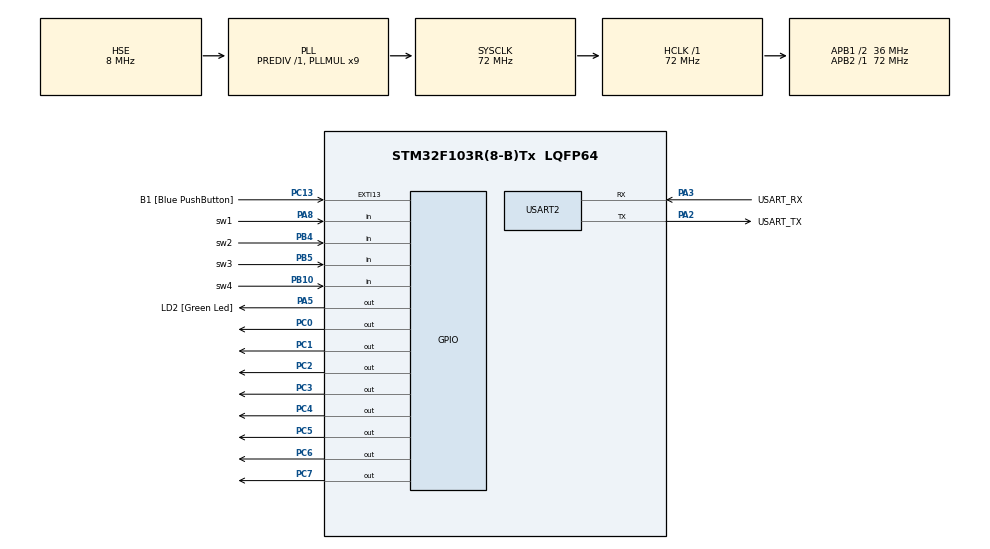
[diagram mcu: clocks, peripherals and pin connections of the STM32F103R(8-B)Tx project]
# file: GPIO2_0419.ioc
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Mcu.Family=STM32F1
Mcu.Name=STM32F103R(8-B)Tx
Mcu.Package=LQFP64
NVIC.EXTI15_10_IRQn=true\:0\:0\:false\:false\:true\:true\:true\:true
NVIC.PriorityGroup=NVIC_PRIORITYGROUP_4
PA13.GPIO_Label=TMS
PA13.Mode=Serial_Wire
PA13.Signal=SYS_JTMS-SWDIO
PA14.GPIO_Label=TCK
PA14.Mode=Serial_Wire
PA14.Signal=SYS_JTCK-SWCLK
PA2.GPIO_Label=USART_TX
PA2.GPIO_Mode=GPIO_MODE_AF_PP
PA2.GPIO_PuPd=GPIO_NOPULL
PA2.GPIO_Speed=GPIO_SPEED_FREQ_LOW
PA2.Mode=Asynchronous
PA2.Signal=USART2_TX
PA3.GPIO_Label=USART_RX
PA3.GPIO_Mode=GPIO_MODE_AF_PP
PA3.GPIO_PuPd=GPIO_NOPULL
PA3.GPIO_Speed=GPIO_SPEED_FREQ_LOW
PA3.Mode=Asynchronous
PA3.Signal=USART2_RX
PA5.GPIO_Label=LD2 [Green Led]
PA5.GPIO_ModeDefaultOutputPP=GPIO_MODE_OUTPUT_PP
PA5.GPIO_PuPd=GPIO_NOPULL
PA5.GPIO_Speed=GPIO_SPEED_FREQ_LOW
PA5.Signal=GPIO_Output
PA8.GPIO_Label=sw1
PA8.Signal=GPIO_Input
PB10.GPIO_Label=sw4
PB10.Signal=GPIO_Input
PB3.GPIO_Label=SWO
PB3.Signal=SYS_JTDO-TRACESWO
PB4.GPIO_Label=sw2
PB4.Signal=GPIO_Input
PB5.GPIO_Label=sw3
PB5.Signal=GPIO_Input
PC0.Signal=GPIO_Output
PC1.Signal=GPIO_Output
PC13-TAMPER-RTC.GPIO_Label=B1 [Blue PushButton]
PC13-TAMPER-RTC.GPIO_PuPd=GPIO_NOPULL
PC13-TAMPER-RTC.Signal=GPXTI13
PC14-OSC32_IN.Mode=LSE-External-Oscillator
PC14-OSC32_IN.Signal=RCC_OSC32_IN
PC15-OSC32_OUT.Mode=LSE-External-Oscillator
PC15-OSC32_OUT.Signal=RCC_OSC32_OUT
PC2.Signal=GPIO_Output
PC3.Signal=GPIO_Output
PC4.Signal=GPIO_Output
PC5.Signal=GPIO_Output
PC6.Signal=GPIO_Output
PC7.Signal=GPIO_Output
PD0-OSC_IN.Mode=HSE-External-Clock-Source
PD0-OSC_IN.Signal=RCC_OSC_IN
PD1-OSC_OUT.Mode=HSE-External-Clock-Source
PD1-OSC_OUT.Signal=RCC_OSC_OUT
ProjectManager.HeapSize=0x200
ProjectManager.StackSize=0x400
ProjectManager.TargetToolchain=STM32CubeIDE
RCC.AHBFreq_Value=72000000
RCC.APB1CLKDivider=RCC_HCLK_DIV2
RCC.APB1Freq_Value=36000000
RCC.APB1TimFreq_Value=72000000
RCC.APB2Freq_Value=72000000
RCC.APB2TimFreq_Value=72000000
RCC.HCLKFreq_Value=72000000
RCC.PLLMUL=RCC_PLL_MUL9
RCC.PLLSourceVirtual=RCC_PLLSOURCE_HSE
RCC.RTCClockSelection=RCC_RTCCLKSOURCE_LSE
RCC.SYSCLKFreq_VALUE=72000000
RCC.SYSCLKSource=RCC_SYSCLKSOURCE_PLLCLK
RCC.USBFreq_Value=72000000
USART2.VirtualMode=VM_ASYNC
board=NUCLEO-F103RB

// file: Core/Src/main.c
/* USER CODE BEGIN Header */
/**
  ******************************************************************************
  * @file           : main.c
  * @brief          : Main program body
  ******************************************************************************
  * @attention
  *
  * Copyright (c) 2022 STMicroelectronics.
  * All rights reserved.
  *
  * This software is licensed under terms that can be found in the LICENSE file
  * in the root directory of this software component.
  * If no LICENSE file comes with this software, it is provided AS-IS.
  *
  ******************************************************************************
  */
/* USER CODE END Header */
#include "main.h"

 UART_HandleTypeDef huart2;

void SystemClock_Config(void);
static void MX_GPIO_Init(void);
static void MX_USART2_UART_Init(void);

int main(void)
{

  /* MCU Configuration--------------------------------------------------------*/

  /* Reset of all peripherals, Initializes the Flash interface and the Systick. */
  HAL_Init();

  /* Configure the system clock */
  SystemClock_Config();

  /* Initialize all configured peripherals */
  MX_GPIO_Init();
  MX_USART2_UART_Init();

  /* Infinite loop */
  /* USER CODE BEGIN WHILE */
  while (1)
  {
	  if (HAL_GPIO_ReadPin(GPIOA, sw1_Pin)== GPIO_PIN_RESET)
	  {
		  HAL_GPIO_WritePin(GPIOC, 0x0003, GPIO_PIN_SET);
		  HAL_Delay(2000);
		  HAL_GPIO_WritePin(GPIOC, 0x0003, GPIO_PIN_RESET);
	  }
	  if (HAL_GPIO_ReadPin(GPIOB, sw2_Pin)== GPIO_PIN_RESET)
	  {
		  HAL_GPIO_WritePin(GPIOC, 0x000c, GPIO_PIN_SET);
	  	  HAL_Delay(2000);
	  	  HAL_GPIO_WritePin(GPIOC, 0x000c, GPIO_PIN_RESET);
	  }
	  if (HAL_GPIO_ReadPin(GPIOB, sw3_Pin)== GPIO_PIN_RESET)
	  {
	  	  HAL_GPIO_WritePin(GPIOC, 0x0030, GPIO_PIN_SET);
	  	  HAL_Delay(2000);
	  	  HAL_GPIO_WritePin(GPIOC, 0x0030, GPIO_PIN_RESET);
	  }
	  if (HAL_GPIO_ReadPin(GPIOB, sw4_Pin)== GPIO_PIN_RESET)
	  {
	  	  HAL_GPIO_WritePin(GPIOC, 0x00c0, GPIO_PIN_SET);
	  	  HAL_Delay(2000);
	  	  HAL_GPIO_WritePin(GPIOC, 0x00c0, GPIO_PIN_RESET);
	  }

    /* USER CODE END WHILE */

  }
}

void SystemClock_Config(void)
{
  RCC_OscInitTypeDef RCC_OscInitStruct = {0};
  RCC_ClkInitTypeDef RCC_ClkInitStruct = {0};

  /** Initializes the RCC Oscillators according to the specified parameters
  * in the RCC_OscInitTypeDef structure.
  */
  RCC_OscInitStruct.OscillatorType = RCC_OSCILLATORTYPE_HSE;
  RCC_OscInitStruct.HSEState = RCC_HSE_BYPASS;
  RCC_OscInitStruct.HSEPredivValue = RCC_HSE_PREDIV_DIV1;
  RCC_OscInitStruct.HSIState = RCC_HSI_ON;
  RCC_OscInitStruct.PLL.PLLState = RCC_PLL_ON;
  RCC_OscInitStruct.PLL.PLLSource = RCC_PLLSOURCE_HSE;
  RCC_OscInitStruct.PLL.PLLMUL = RCC_PLL_MUL9;
  if (HAL_RCC_OscConfig(&RCC_OscInitStruct) != HAL_OK)
  {
    Error_Handler();
  }

  /** Initializes the CPU, AHB and APB buses clocks
  */
  RCC_ClkInitStruct.ClockType = RCC_CLOCKTYPE_HCLK|RCC_CLOCKTYPE_SYSCLK
                              |RCC_CLOCKTYPE_PCLK1|RCC_CLOCKTYPE_PCLK2;
  RCC_ClkInitStruct.SYSCLKSource = RCC_SYSCLKSOURCE_PLLCLK;
  RCC_ClkInitStruct.AHBCLKDivider = RCC_SYSCLK_DIV1;
  RCC_ClkInitStruct.APB1CLKDivider = RCC_HCLK_DIV2;
  RCC_ClkInitStruct.APB2CLKDivider = RCC_HCLK_DIV1;

  if (HAL_RCC_ClockConfig(&RCC_ClkInitStruct, FLASH_LATENCY_2) != HAL_OK)
  {
    Error_Handler();
  }
}

static void MX_USART2_UART_Init(void)
{

  huart2.Instance = USART2;
  huart2.Init.BaudRate = 115200;
  huart2.Init.WordLength = UART_WORDLENGTH_8B;
  huart2.Init.StopBits = UART_STOPBITS_1;
  huart2.Init.Parity = UART_PARITY_NONE;
  huart2.Init.Mode = UART_MODE_TX_RX;
  huart2.Init.HwFlowCtl = UART_HWCONTROL_NONE;
  huart2.Init.OverSampling = UART_OVERSAMPLING_16;
  if (HAL_UART_Init(&huart2) != HAL_OK)
  {
    Error_Handler();
  }

}

static void MX_GPIO_Init(void)
{
  GPIO_InitTypeDef GPIO_InitStruct = {0};

  /* GPIO Ports Clock Enable */
  __HAL_RCC_GPIOC_CLK_ENABLE();
  __HAL_RCC_GPIOD_CLK_ENABLE();
  __HAL_RCC_GPIOA_CLK_ENABLE();
  __HAL_RCC_GPIOB_CLK_ENABLE();

  /*Configure GPIO pin Output Level */
  HAL_GPIO_WritePin(GPIOC, GPIO_PIN_0|GPIO_PIN_1|GPIO_PIN_2|GPIO_PIN_3
                          |GPIO_PIN_4|GPIO_PIN_5|GPIO_PIN_6|GPIO_PIN_7, GPIO_PIN_RESET);

  /*Configure GPIO pin Output Level */
  HAL_GPIO_WritePin(LD2_GPIO_Port, LD2_Pin, GPIO_PIN_RESET);

  /*Configure GPIO pin : B1_Pin */
  GPIO_InitStruct.Pin = B1_Pin;
  GPIO_InitStruct.Mode = GPIO_MODE_IT_RISING;
  GPIO_InitStruct.Pull = GPIO_NOPULL;
  HAL_GPIO_Init(B1_GPIO_Port, &GPIO_InitStruct);

  /*Configure GPIO pins : PC0 PC1 PC2 PC3
                           PC4 PC5 PC6 PC7 */
  GPIO_InitStruct.Pin = GPIO_PIN_0|GPIO_PIN_1|GPIO_PIN_2|GPIO_PIN_3
                          |GPIO_PIN_4|GPIO_PIN_5|GPIO_PIN_6|GPIO_PIN_7;
  GPIO_InitStruct.Mode = GPIO_MODE_OUTPUT_PP;
  GPIO_InitStruct.Pull = GPIO_NOPULL;
  GPIO_InitStruct.Speed = GPIO_SPEED_FREQ_LOW;
  HAL_GPIO_Init(GPIOC, &GPIO_InitStruct);

  /*Configure GPIO pin : LD2_Pin */
  GPIO_InitStruct.Pin = LD2_Pin;
  GPIO_InitStruct.Mode = GPIO_MODE_OUTPUT_PP;
  GPIO_InitStruct.Pull = GPIO_NOPULL;
  GPIO_InitStruct.Speed = GPIO_SPEED_FREQ_LOW;
  HAL_GPIO_Init(LD2_GPIO_Port, &GPIO_InitStruct);

  /*Configure GPIO pins : sw4_Pin sw2_Pin sw3_Pin */
  GPIO_InitStruct.Pin = sw4_Pin|sw2_Pin|sw3_Pin;
  GPIO_InitStruct.Mode = GPIO_MODE_INPUT;
  GPIO_InitStruct.Pull = GPIO_NOPULL;
  HAL_GPIO_Init(GPIOB, &GPIO_InitStruct);

  /*Configure GPIO pin : sw1_Pin */
  GPIO_InitStruct.Pin = sw1_Pin;
  GPIO_InitStruct.Mode = GPIO_MODE_INPUT;
  GPIO_InitStruct.Pull = GPIO_NOPULL;
  HAL_GPIO_Init(sw1_GPIO_Port, &GPIO_InitStruct);

  /* EXTI interrupt init*/
  HAL_NVIC_SetPriority(EXTI15_10_IRQn, 0, 0);
  HAL_NVIC_EnableIRQ(EXTI15_10_IRQn);

}

void Error_Handler(void)
{
  __disable_irq();
  while (1)
  {
  }
}
